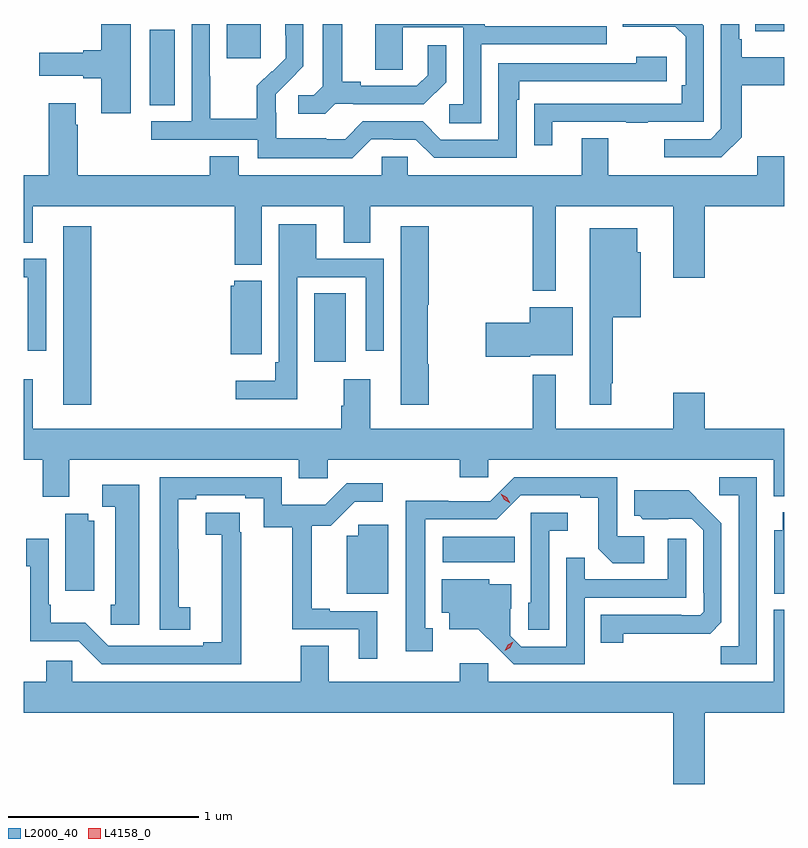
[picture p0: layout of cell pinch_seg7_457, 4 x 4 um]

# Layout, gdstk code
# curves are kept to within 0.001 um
import gdstk
lib = gdstk.Library(unit=1e-6, precision=1e-09)
def R(c, l, rs):  # rectangles x0, y0, x1, y1
    for r in rs: c.add(gdstk.rectangle(r[:2], r[2:], *l))
def P(c, l, *ps):  # polygons
    for p in ps: c.add(gdstk.Polygon(p, *l))
L2000_40 = (2000, 40)
L4158_0 = (4158, 0)

pinch_seg7_457 = lib.new_cell('pinch_seg7_457')
R(pinch_seg7_457, L2000_40, [(199.758,1074.668,200.138,1074.802), (197.762,1075.497,197.909,1076.437), (199.082,1075.722,199.249,1076.084), (198.218,1077.073,198.349,1077.47), (198.623,1077.321,198.802,1077.5), (201.403,1077.461,201.555,1077.5)])
P(pinch_seg7_457, L2000_40, [(199.962,1077.393),(200.621,1077.393),(200.621,1077.489),(199.981,1077.489),(199.981,1077.5),(199.403,1077.5),(199.403,1077.259),(199.548,1077.259),(199.548,1077.483),(199.866,1077.483),(199.866,1077.078),(199.794,1077.078),(199.794,1076.977),(199.962,1076.977)],
  [(200.335,1076.985),(200.725,1076.985),(200.725,1076.98),(200.837,1076.98),(200.837,1076.985),(201.132,1076.985),(201.132,1077.492),(201.124,1077.5),(200.706,1077.5),(200.706,1077.485),(200.983,1077.485),(201.036,1077.432),(201.036,1077.178),(201.016,1077.178),(201.016,1077.081),(200.239,1077.08),(200.239,1076.862),(200.335,1076.862)],
  [(198.118,1077.5),(197.963,1077.5),(197.963,1077.362),(197.867,1077.362),(197.867,1077.349),(197.637,1077.349),(197.637,1077.227),(197.867,1077.227),(197.867,1077.215),(197.963,1077.215),(197.963,1077.03),(198.118,1077.03)],
  [(201.331,1076.905),(201.331,1077.178),(201.555,1077.178),(201.555,1077.325),(201.331,1077.325),(201.331,1077.421),(201.318,1077.421),(201.318,1077.5),(201.222,1077.5),(201.222,1076.949),(201.168,1076.895),(200.925,1076.895),(200.925,1076.799),(201.225,1076.799)],
  [(199.194,1077.081),(199.288,1077.081),(199.288,1077.078),(199.66,1077.078),(199.776,1077.194),(199.776,1077.388),(199.679,1077.388),(199.679,1077.231),(199.622,1077.174),(199.327,1077.174),(199.327,1077.197),(199.231,1077.197),(199.231,1077.5),(199.127,1077.5),(199.127,1077.173),(199.08,1077.126),(198.999,1077.126),(198.999,1077.029),(199.142,1077.029)],
  [(199.383,1076.895),(199.499,1076.895),(199.499,1076.892),(199.617,1076.892),(199.713,1076.796),(200.148,1076.796),(200.148,1077.101),(200.161,1077.101),(200.161,1077.198),(200.938,1077.198),(200.938,1077.328),(200.777,1077.328),(200.777,1077.294),(200.052,1077.294),(200.052,1076.892),(199.749,1076.892),(199.653,1076.988),(199.338,1076.988),(199.245,1076.895),(199.145,1076.895),(199.145,1076.899),(198.882,1076.899),(198.882,1077.033),(198.88,1077.033),(198.88,1077.13),(199.026,1077.278),(199.026,1077.5),(198.93,1077.5),(198.93,1077.442),(198.932,1077.442),(198.932,1077.32),(198.861,1077.249),(198.858,1077.252),(198.781,1077.175),(198.781,1077.001),(198.537,1077.001),(198.537,1077.224),(198.534,1077.224),(198.534,1077.5),(198.438,1077.5),(198.438,1076.988),(198.225,1076.988),(198.225,1076.892),(198.786,1076.892),(198.786,1076.795),(199.283,1076.795)],
  [(197.555,1076.35),(197.602,1076.35),(197.602,1076.54),(198.665,1076.54),(198.665,1076.234),(198.808,1076.234),(198.808,1076.54),(199.238,1076.54),(199.238,1076.35),(199.378,1076.35),(199.378,1076.54),(200.232,1076.54),(200.232,1076.096),(200.353,1076.096),(200.353,1076.54),(200.972,1076.54),(200.972,1076.166),(201.136,1076.166),(201.136,1076.54),(201.555,1076.54),(201.555,1076.803),(201.413,1076.803),(201.413,1076.704),(200.629,1076.704),(200.629,1076.899),(200.489,1076.899),(200.489,1076.704),(199.575,1076.704),(199.575,1076.802),(199.437,1076.802),(199.437,1076.704),(198.685,1076.704),(198.685,1076.803),(198.533,1076.803),(198.533,1076.704),(197.84,1076.704),(197.84,1076.969),(197.827,1076.969),(197.827,1077.082),(197.687,1077.082),(197.687,1076.704),(197.555,1076.704)],
  [(198.993,1076.169),(199.353,1076.169),(199.353,1075.782),(199.449,1075.782),(199.449,1076.265),(199.093,1076.265),(199.093,1076.446),(198.897,1076.446),(198.897,1075.72),(198.877,1075.72),(198.877,1075.624),(198.669,1075.624),(198.669,1075.526),(198.993,1075.526)],
  [(199.685,1075.709),(199.68,1075.709),(199.68,1076.024),(199.685,1076.024),(199.685,1076.437),(199.538,1076.437),(199.538,1075.497),(199.685,1075.497)],
  [(200.645,1075.609),(200.653,1075.609),(200.653,1075.958),(200.8,1075.958),(200.8,1076.298),(200.782,1076.298),(200.782,1076.425),(200.531,1076.425),(200.531,1075.497),(200.645,1075.497)],
  [(197.673,1076.265),(197.555,1076.265),(197.555,1076.169),(197.577,1076.169),(197.577,1075.782),(197.673,1075.782)],
  [(198.808,1076.149),(198.663,1076.149),(198.663,1076.124),(198.644,1076.124),(198.644,1075.763),(198.808,1075.763)],
  [(200.22,1075.757),(200.443,1075.757),(200.443,1076.011),(200.216,1076.011),(200.216,1075.928),(199.986,1075.928),(199.986,1075.75),(200.22,1075.75)],
  [(197.794,1075.208),(199.001,1075.208),(199.001,1075.11),(199.153,1075.11),(199.153,1075.208),(199.847,1075.208),(199.847,1075.115),(199.998,1075.115),(199.998,1075.208),(201.5,1075.208),(201.5,1075.016),(201.555,1075.016),(201.555,1075.372),(201.136,1075.372),(201.136,1075.561),(200.972,1075.561),(200.972,1075.372),(200.353,1075.372),(200.353,1075.654),(200.232,1075.654),(200.232,1075.372),(199.378,1075.372),(199.378,1075.63),(199.238,1075.63),(199.238,1075.493),(199.226,1075.493),(199.226,1075.372),(197.602,1075.372),(197.602,1075.63),(197.555,1075.63),(197.555,1075.208),(197.654,1075.208),(197.654,1075.014),(197.794,1075.014)],
  [(199.414,1074.411),(199.165,1074.411),(199.165,1074.424),(199.07,1074.424),(199.07,1074.861),(199.169,1074.861),(199.296,1074.987),(199.444,1074.987),(199.444,1075.083),(199.254,1075.083),(199.141,1074.97),(198.912,1074.97),(198.912,1075.116),(198.27,1075.116),(198.27,1074.313),(198.43,1074.313),(198.43,1074.433),(198.369,1074.433),(198.369,1074.737),(198.367,1074.737),(198.367,1075),(198.463,1075),(198.463,1075.02),(198.719,1075.02),(198.719,1075.006),(198.816,1075.006),(198.816,1074.853),(198.967,1074.853),(198.967,1074.315),(199.316,1074.315),(199.316,1074.162),(199.414,1074.162)],
  [(201.411,1075.116),(201.213,1075.116),(201.213,1075.02),(201.315,1075.02),(201.315,1074.227),(201.22,1074.227),(201.22,1074.132),(201.411,1074.132)],
  [(199.705,1074.321),(199.666,1074.321),(199.666,1074.894),(200.043,1074.894),(200.169,1075.02),(200.483,1075.02),(200.483,1075.008),(200.577,1075.008),(200.577,1074.74),(200.653,1074.664),(200.818,1074.664),(200.818,1074.804),(200.676,1074.804),(200.676,1075.116),(200.136,1075.116),(200.01,1074.99),(199.788,1074.99),(199.788,1074.992),(199.565,1074.992),(199.565,1074.201),(199.705,1074.201)],
  [(198.163,1075.075),(197.967,1075.075),(197.967,1074.96),(198.035,1074.96),(198.035,1074.444),(198.013,1074.444),(198.013,1074.339),(198.163,1074.339)],
  [(200.709,1074.292),(201.166,1074.293),(201.225,1074.352),(201.225,1074.874),(201.053,1075.048),(200.765,1075.048),(200.765,1074.912),(200.796,1074.912),(200.812,1074.896),(201.069,1074.897),(201.129,1074.837),(201.129,1074.508),(201.132,1074.508),(201.132,1074.408),(201.114,1074.39),(201.014,1074.39),(201.014,1074.393),(200.59,1074.393),(200.59,1074.246),(200.709,1074.246)],
  [(201.555,1074.931),(201.548,1074.931),(201.548,1074.838),(201.503,1074.838),(201.503,1074.503),(201.555,1074.503)],
  [(200.319,1074.833),(200.416,1074.833),(200.416,1074.93),(200.223,1074.93),(200.223,1074.456),(200.208,1074.456),(200.208,1074.313),(200.319,1074.313)],
  [(198.698,1074.827),(198.692,1074.827),(198.692,1074.929),(198.513,1074.929),(198.513,1074.814),(198.595,1074.814),(198.596,1074.248),(198.5,1074.248),(198.5,1074.228),(198,1074.228),(197.879,1074.349),(197.698,1074.349),(197.698,1074.445),(197.685,1074.445),(197.685,1074.793),(197.568,1074.793),(197.568,1074.648),(197.589,1074.648),(197.589,1074.252),(197.844,1074.252),(197.964,1074.132),(198.698,1074.132)],
  [(197.926,1074.886),(197.894,1074.886),(197.894,1074.923),(197.774,1074.923),(197.774,1074.519),(197.926,1074.519)],
  [(199.471,1074.865),(199.314,1074.865),(199.314,1074.808),(199.253,1074.808),(199.253,1074.503),(199.471,1074.503)],
  [(200.505,1074.483),(201.039,1074.483),(201.039,1074.793),(200.943,1074.793),(200.943,1074.579),(200.507,1074.579),(200.507,1074.692),(200.409,1074.692),(200.409,1074.225),(200.172,1074.225),(200.115,1074.282),(200.115,1074.424),(200.119,1074.424),(200.119,1074.553),(200.004,1074.553),(200.004,1074.58),(199.754,1074.58),(199.754,1074.404),(199.793,1074.404),(199.793,1074.317),(199.945,1074.317),(200.132,1074.132),(200.505,1074.132)],
  [(201.136,1073.876),(201.555,1073.876),(201.555,1074.418),(201.5,1074.418),(201.5,1074.04),(199.998,1074.04),(199.998,1074.136),(199.847,1074.136),(199.847,1074.04),(199.159,1074.04),(199.159,1074.23),(199.012,1074.23),(199.012,1074.04),(197.811,1074.04),(197.811,1074.15),(197.672,1074.15),(197.672,1074.04),(197.555,1074.04),(197.555,1073.876),(200.972,1073.876),(200.972,1073.502),(201.136,1073.502)])
P(pinch_seg7_457, L4158_0, [(200.084,1074.204),(200.084,1074.204),(200.101,1074.234),(200.131,1074.249),(200.131,1074.249),(200.131,1074.249),(200.114,1074.219),(200.084,1074.204)],
  [(200.113,1074.978),(200.082,1074.997),(200.064,1075.03),(200.064,1075.03),(200.065,1075.03),(200.096,1075.011),(200.114,1074.978),(200.114,1074.978)])

lib.write_gds('pinch_seg7_457.gds')
